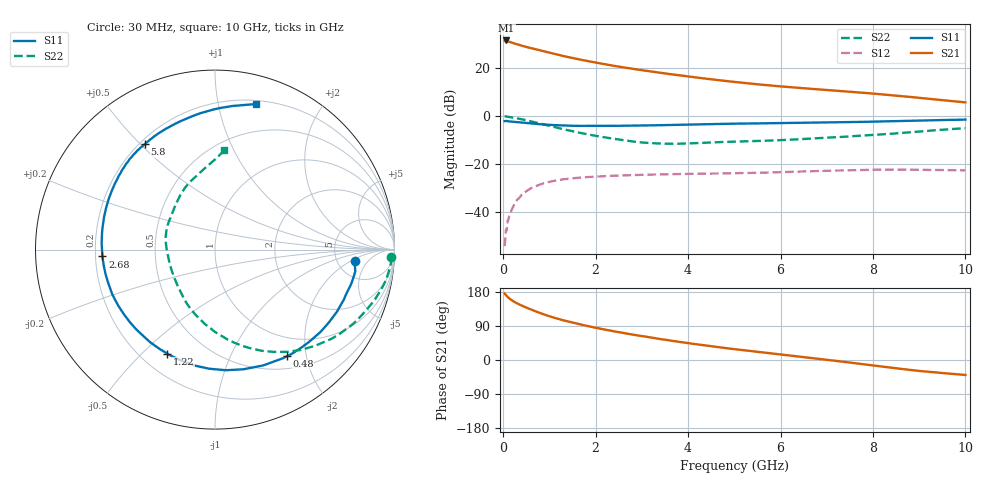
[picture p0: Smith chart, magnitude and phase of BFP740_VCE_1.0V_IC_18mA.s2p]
! Infineon Technologies  Discrete & RF Semiconductors
! BFP740
! VCE =  1.0 V,  IC =  18 mA
! Common Emitter S-Parameters:  Jan 2016
# GHz  S  MA  R  50
!  f  S11  S21  S12  S22
! GHz  MAG  ANG  MAG  ANG  MAG  ANG  MAG  ANG
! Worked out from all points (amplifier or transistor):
!   229 points, 30 MHz to 10 GHz, reference 50 ohm
!   highest |S21| = 31.6 dB at 70 MHz (marker M1)
!   |S21| within 3 dB of that: start of sweep to 556.5 MHz
!   unconditionally stable (mu >= 1): 5.679 GHz to end of sweep
!   at 280 MHz: K = 0.20, MSG = 32.9 dB, |S12| = -35.6 dB
!   at 1.78 GHz: K = 0.45, MSG = 24.4 dB, |S12| = -25.6 dB
!   at 10 GHz: K = 1.12, MAG = 12.1 dB, |S12| = -22.7 dB
!   S11 on the Smith chart (normalised r, x): 30 MHz: 7.41, -2.33; 480 MHz: 0.68, -1.67; 1.22 GHz: 0.31, -0.60; 2.68 GHz: 0.23, -0.03; 5.8 GHz: 0.22, +0.51; 10 GHz: 0.23, +1.30
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0.03  0.7815 -4.5  37.15 175.7  0.0019 67.3  0.9832 -2.4
0.05  0.7866 -7.3  37.93 172.8  0.0033 85.9  0.9829 -4.5
0.07  0.7889 -10.2  38.06 169.7  0.004 92.2  0.9791 -6.2
0.11  0.7784 -15.9  36.52 164.7  0.0066 76.6  0.9686 -10.0
0.15  0.7703 -21.1  35.35 160.6  0.0091 82.9  0.9519 -13.5
0.24  0.7547 -31.4  33 153.4  0.0143 76.6  0.9172 -20.2
0.36  0.7339 -44.6  30.26 145.8  0.0201 68.5  0.8713 -28.6
0.48  0.7162 -56.1  28.19 139.4  0.0259 62.0  0.8243 -36.3
0.6  0.6989 -67.5  26.33 133.2  0.0308 57.2  0.7754 -43.6
0.8  0.6748 -84.9  23.51 123.8  0.0371 49.3  0.6973 -54.8
1  0.6559 -100.1  21.08 115.5  0.0423 43.0  0.6224 -65.0
1.22  0.6377 -114.6  18.75 107.5  0.0462 37.2  0.552 -74.9
1.7  0.623 -139.9  14.91 93.0  0.052 28.1  0.4372 -93.6
2.12  0.6238 -157.5  12.48 82.1  0.0547 22.1  0.3685 -109.4
2.68  0.6281 -176.5  10.13 69.6  0.0578 16.4  0.3037 -129.3
3.4  0.6442 163.7  8.017 55.3  0.0603 10.7  0.2664 -156.9
4.3  0.6711 144.3  6.185 39.5  0.0625 5.1  0.2752 173.4
5.1  0.6942 132.0  5.051 27.3  0.064 1.6  0.2941 155.7
5.8  0.7059 123.7  4.334 17.4  0.0661 -1.1  0.3074 142.9
6.8  0.7261 112.5  3.618 3.5  0.0708 -5.9  0.3428 127.5
8.4  0.78 90.8  2.73 -20.4  0.0757 -17.0  0.4263 103.5
10  0.8424 74.2  1.931 -39.5  0.0732 -25.7  0.5578 84.6
